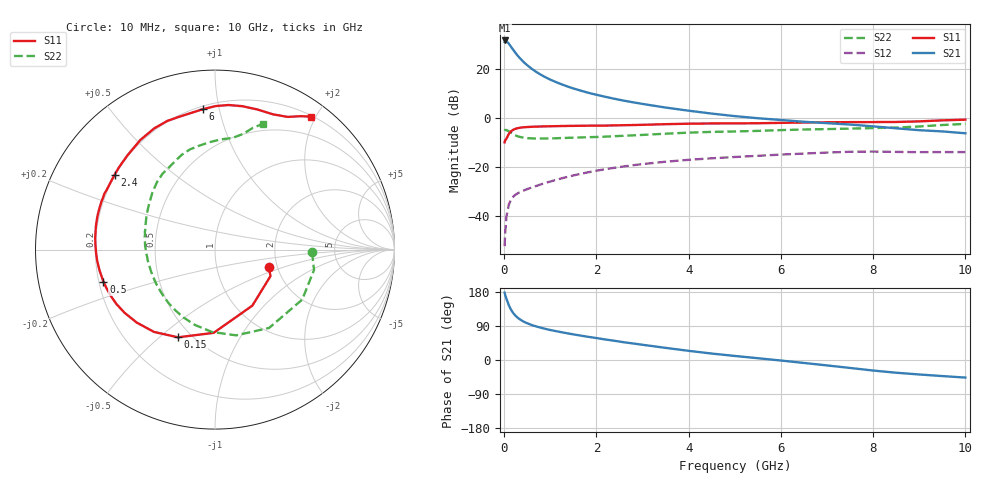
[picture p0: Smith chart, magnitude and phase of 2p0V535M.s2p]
! (c) 2009  Infineon Technologies AG, Munich
! Infineon Technologies  Discrete & RF Semiconductors
! BFP420
! VCE =  0.5 V,  IC =  35 mA
! Common Emitter S-Parameters:  Nov 2009
# GHz  S  MA  R  50
!  f  S11  S21  S12  S22
! GHz  MAG  ANG  MAG  ANG  MAG  ANG  MAG  ANG
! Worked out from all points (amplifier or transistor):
!   46 points, 10 MHz to 10 GHz, reference 50 ohm
!   highest |S21| = 31.5 dB at 20 MHz (marker M1)
!   |S21| within 3 dB of that: start of sweep to 165.1 MHz
!   unconditionally stable (mu >= 1): start of sweep to 42.87 MHz; 822.8 MHz to end of sweep
!   at 300 MHz: K = 0.61, MSG = 28.0 dB, |S12| = -30.8 dB
!   at 1.7 GHz: K = 1.22, MAG = 14.0 dB, |S12| = -22.7 dB
!   at 10 GHz: K = 1.06, MAG = 2.3 dB, |S12| = -14.0 dB
!   lowest NFmin = 1.64 dB at 900 MHz
!   S11 on the Smith chart (normalised r, x): 10 MHz: 1.80, -0.39; 150 MHz: 0.42, -0.58; 500 MHz: 0.22, -0.13; 2.4 GHz: 0.20, +0.32; 6 GHz: 0.22, +0.90; 10 GHz: 0.22, +1.93
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0.01  0.3154 -18.2  35.1 177.7  0.0024 98.0  0.5405 -1.6
0.02  0.3426 -25.5  37.7 172.9  0.0041 89.2  0.5633 -11.6
0.05  0.3752 -56.3  36.37 161.5  0.0097 77.5  0.5601 -29.8
0.1  0.4638 -90.9  32.59 144.8  0.0167 64.4  0.5305 -55.4
0.15  0.5305 -112.9  27.91 132.4  0.0215 56.1  0.4919 -76.2
0.2  0.571 -126.6  24.08 123.3  0.0247 50.8  0.4594 -92.0
0.25  0.5964 -137.1  20.78 116.4  0.0271 47.6  0.4345 -104.9
0.3  0.6147 -145.1  18.13 110.8  0.0289 45.8  0.4167 -115.0
0.4  0.6354 -156.1  14.39 102.7  0.0321 44.4  0.3952 -130.4
0.5  0.6467 -163.9  11.79 96.9  0.035 44.5  0.3838 -141.3
0.6  0.6539 -169.9  9.929 92.2  0.0378 45.1  0.3791 -149.8
0.7  0.6596 -174.7  8.547 88.4  0.0407 45.9  0.3767 -156.1
1  0.6707 174.4  5.997 79.2  0.05 47.4  0.379 -170.3
1.3  0.6783 166.4  4.597 72.0  0.0598 47.6  0.3862 179.9
1.7  0.6866 157.3  3.483 63.6  0.0731 46.3  0.3977 169.9
2.4  0.6978 143.2  2.426 50.5  0.0957 41.1  0.4207 155.7
3.5  0.7389 124.3  1.613 32.0  0.1266 30.4  0.4727 137.5
5.5  0.7725 100.1  0.977 4.7  0.1674 11.2  0.5389 114.7
6  0.7855 94.8  0.899 -1.4  0.177 6.6  0.5593 109.5
7  0.8091 84.6  0.775 -14.3  0.1948 -3.9  0.5865 98.2
8.5  0.8199 66.8  0.608 -33.6  0.2009 -21.2  0.6304 81.0
10  0.9132 54.2  0.482 -46.4  0.1993 -31.6  0.7492 69.2
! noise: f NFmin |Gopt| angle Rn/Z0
0.9  1.64  0.3  -155  0.13
1.8  1.9  0.37  -142  0.15
2.4  2.1  0.34  -134  0.19
3  2.11  0.4  -126  0.22
4  2.25  0.5  -110  0.35
5  2.73  0.54  -94  0.59
6  3.16  0.59  -82  0.84
